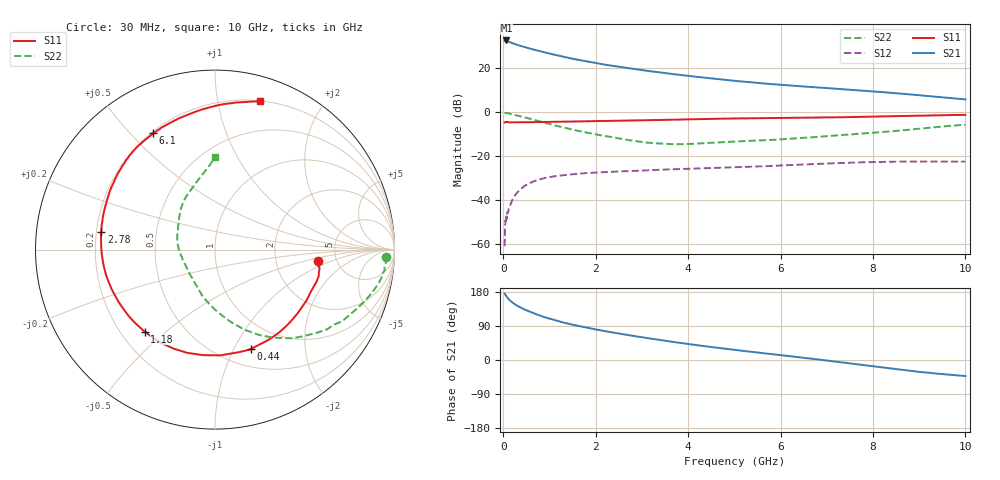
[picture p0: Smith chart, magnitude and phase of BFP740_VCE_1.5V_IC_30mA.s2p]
! Infineon Technologies  Discrete & RF Semiconductors
! BFP740
! VCE =  1.5 V,  IC =  30 mA
! Common Emitter S-Parameters:  Jan 2016
# GHz  S  MA  R  50
!  f  S11  S21  S12  S22
! GHz  MAG  ANG  MAG  ANG  MAG  ANG  MAG  ANG
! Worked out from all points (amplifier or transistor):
!   229 points, 30 MHz to 10 GHz, reference 50 ohm
!   highest |S21| = 32.5 dB at 70 MHz (marker M1)
!   |S21| within 3 dB of that: start of sweep to 465.8 MHz
!   unconditionally stable (mu >= 1): 5.079 GHz to end of sweep
!   at 280 MHz: K = 0.27, MSG = 33.9 dB, |S12| = -37.1 dB
!   at 1.78 GHz: K = 0.55, MSG = 25.4 dB, |S12| = -27.8 dB
!   at 10 GHz: K = 1.05, MAG = 12.8 dB, |S12| = -22.5 dB
!   S11 on the Smith chart (normalised r, x): 30 MHz: 3.60, -0.71; 440 MHz: 0.69, -1.17; 1.18 GHz: 0.30, -0.43; 2.78 GHz: 0.22, +0.07; 6.1 GHz: 0.21, +0.58; 10 GHz: 0.20, +1.32
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0.03  0.5795 -6.5  41.01 175.1  0.0009 86.3  0.9514 -2.4
0.05  0.5918 -10.1  42.03 171.8  0.0035 101.1  0.9537 -4.6
0.07  0.5965 -14.4  42.14 167.9  0.0043 92.2  0.952 -6.9
0.11  0.5852 -22.4  39.96 161.6  0.0054 77.8  0.9333 -11.2
0.2  0.5811 -38.0  36.53 151.4  0.0102 77.2  0.8835 -18.9
0.3  0.5839 -52.4  33.73 143.4  0.0147 69.8  0.8336 -25.8
0.44  0.588 -69.9  30.41 134.6  0.0202 61.9  0.7692 -34.8
0.6  0.59 -87.1  27.32 126.1  0.0251 55.0  0.6922 -44.1
0.8  0.5957 -105.2  23.93 116.8  0.0297 47.8  0.6094 -53.9
1  0.6004 -119.8  21.23 108.9  0.0333 42.0  0.536 -62.6
1.18  0.6013 -130.6  19.19 102.8  0.0357 38.2  0.4787 -69.3
1.4  0.607 -142.2  17.04 96.0  0.0378 34.3  0.4221 -76.4
1.7  0.6133 -155.2  14.78 88.0  0.0403 30.3  0.3587 -85.5
2.2  0.6277 -172.9  11.89 76.1  0.043 25.6  0.2854 -100.4
2.78  0.6416 171.0  9.625 64.2  0.046 21.9  0.2249 -117.7
3.4  0.6597 156.7  7.919 52.7  0.0489 18.8  0.1924 -140.7
4.2  0.689 141.1  6.262 39.0  0.0523 15.4  0.1924 -170.6
5.1  0.716 128.3  4.994 25.3  0.0561 12.1  0.2158 166.8
6.1  0.7336 118.0  4.07 11.5  0.0618 8.8  0.2423 147.8
6.8  0.7475 110.3  3.619 1.6  0.0664 4.9  0.2728 136.5
8.4  0.8026 89.4  2.721 -22.6  0.0744 -6.8  0.3643 110.8
10  0.8634 73.3  1.933 -42.4  0.0747 -16.9  0.5157 90.1
